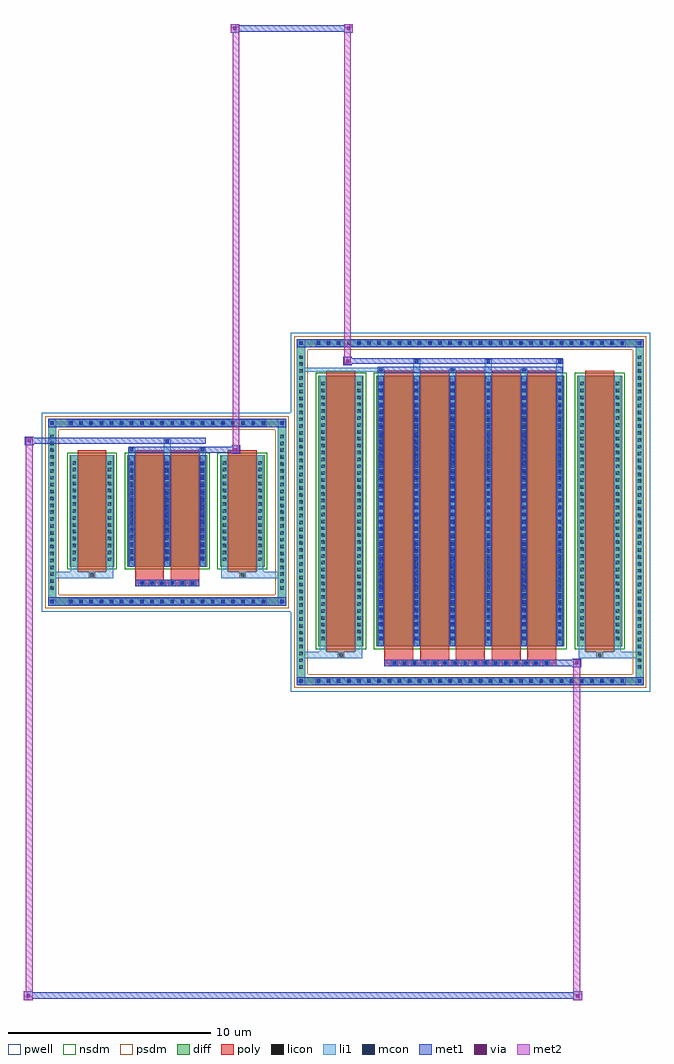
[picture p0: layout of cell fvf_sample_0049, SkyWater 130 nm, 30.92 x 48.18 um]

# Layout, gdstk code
import gdstk
lib = gdstk.Library(unit=1e-6, precision=1e-09)
def R(c, l, rs):  # rectangles x0, y0, x1, y1
    for r in rs: c.add(gdstk.rectangle(r[:2], r[2:], *l))
def A(c, l, x, y, w, h, nx, ny, dx, dy):  # array of equal rectangles
    R(c, l, [(x+i*dx, y+j*dy, x+i*dx+w, y+j*dy+h) for i in range(nx) for j in range(ny)])
def P(c, l, *ps):  # polygons
    for p in ps: c.add(gdstk.Polygon(p, *l))
pwell = (64, 44)
diff = (65, 20)
poly = (66, 20)
licon = (66, 44)
li1 = (67, 20)
mcon = (67, 44)
met1 = (68, 20)
via = (68, 44)
met2 = (69, 20)
nsdm = (93, 44)
psdm = (94, 20)

fvf_sample_0049 = lib.new_cell('fvf_sample_0049')
R(fvf_sample_0049, pwell, [(6.091,-8.858,23.843,8.858), (-6.191,-4.916,6.191,4.916)])
A(fvf_sample_0049, diff, 7.262, -8.548, 0.41, 0.41, 31, 2, 0.5, 16.686)
A(fvf_sample_0049, diff, 6.401, -7.855, 0.41, 0.41, 1, 46, 0, 0.34)
A(fvf_sample_0049, diff, 23.123, -7.855, 0.41, 0.41, 1, 46, 0, 0.34)
A(fvf_sample_0049, diff, -4.955, -4.606, 0.41, 0.41, 20, 2, 0.5, 8.802)
A(fvf_sample_0049, diff, -5.881, -3.945, 0.41, 0.41, 1, 23, 0, 0.34)
A(fvf_sample_0049, diff, 5.471, -3.945, 0.41, 0.41, 1, 23, 0, 0.34)
R(fvf_sample_0049, diff, [(7.262,-8.548,22.672,-8.138), (6.401,-7.855,6.811,7.855), (23.123,-7.855,23.533,7.855), (7.471,-6.627,9.687,6.743), (10.327,-6.627,19.607,6.743), (20.247,-6.627,22.463,6.743), (-4.955,-4.606,4.955,-4.196), (-5.881,-3.945,-5.471,3.945), (5.471,-3.945,5.881,3.945), (-4.811,-2.685,-2.613,2.801), (-1.973,-2.685,1.973,2.801), (2.613,-2.685,4.811,2.801), (-4.955,4.196,4.955,4.606), (7.262,8.138,22.672,8.548)])
P(fvf_sample_0049, diff, [(5.881,4.606),(-5.881,4.606),(-5.881,-4.196),(-5.471,-4.196),(-5.471,4.196),(5.471,4.196),(5.471,-4.196),(-5.471,-4.196),(-5.881,-4.196),(-5.881,-4.606),(5.881,-4.606)],
  [(23.533,8.548),(6.401,8.548),(6.401,-8.138),(6.811,-8.138),(6.811,8.138),(23.123,8.138),(23.123,-8.138),(6.811,-8.138),(6.401,-8.138),(6.401,-8.548),(23.533,-8.548)])
A(fvf_sample_0049, poly, 11.052, -7.608, 0.33, 0.33, 16, 1, 0.5, 0)
A(fvf_sample_0049, poly, 10.717, -7.278, 1.436, 0.401, 5, 1, 1.766, 0)
A(fvf_sample_0049, poly, 10.717, -6.877, 1.436, 13.87, 5, 1, 1.766, 0)
A(fvf_sample_0049, poly, -1.415, -3.666, 0.33, 0.33, 6, 1, 0.5, 0)
R(fvf_sample_0049, poly, [(10.717,-7.608,19.217,-7.278), (8.414,-7.207,8.744,-6.877), (8.414,-7.207,8.744,-6.877), (21.19,-7.207,21.52,-6.877), (21.19,-7.207,21.52,-6.877), (7.861,-6.877,9.297,6.993), (20.637,-6.877,22.073,6.993), (-1.583,-3.666,1.583,-3.336), (-1.583,-3.336,-0.165,-2.935), (0.165,-3.336,1.583,-2.935), (-3.877,-3.265,-3.547,-2.935), (-3.877,-3.265,-3.547,-2.935), (3.547,-3.265,3.877,-2.935), (3.547,-3.265,3.877,-2.935), (-4.421,-2.935,-3.003,3.051), (-1.583,-2.935,-0.165,3.051), (0.165,-2.935,1.583,3.051), (3.003,-2.935,4.421,3.051)])
A(fvf_sample_0049, licon, 7.382, -8.428, 0.17, 0.17, 31, 2, 0.5, 16.686)
A(fvf_sample_0049, licon, 6.521, -7.735, 0.17, 0.17, 1, 46, 0, 0.34)
A(fvf_sample_0049, licon, 23.243, -7.735, 0.17, 0.17, 1, 46, 0, 0.34)
A(fvf_sample_0049, licon, 11.132, -7.528, 0.17, 0.17, 16, 1, 0.5, 0)
A(fvf_sample_0049, licon, 7.611, -6.317, 0.17, 0.17, 1, 38, 0, 0.34)
A(fvf_sample_0049, licon, 9.377, -6.317, 0.17, 0.17, 1, 38, 0, 0.34)
A(fvf_sample_0049, licon, 10.467, -6.317, 0.17, 0.17, 6, 38, 1.766, 0.34)
A(fvf_sample_0049, licon, 20.387, -6.317, 0.17, 0.17, 1, 38, 0, 0.34)
A(fvf_sample_0049, licon, 22.153, -6.317, 0.17, 0.17, 1, 38, 0, 0.34)
A(fvf_sample_0049, licon, -4.835, -4.486, 0.17, 0.17, 20, 2, 0.5, 8.802)
A(fvf_sample_0049, licon, -5.761, -3.825, 0.17, 0.17, 1, 23, 0, 0.34)
A(fvf_sample_0049, licon, 5.591, -3.825, 0.17, 0.17, 1, 23, 0, 0.34)
A(fvf_sample_0049, licon, -1.335, -3.586, 0.17, 0.17, 6, 1, 0.5, 0)
A(fvf_sample_0049, licon, -4.671, -2.407, 0.17, 0.17, 1, 15, 0, 0.34)
A(fvf_sample_0049, licon, -2.923, -2.407, 0.17, 0.17, 1, 15, 0, 0.34)
A(fvf_sample_0049, licon, -1.833, -2.407, 0.17, 0.17, 3, 15, 1.748, 0.34)
A(fvf_sample_0049, licon, 2.753, -2.407, 0.17, 0.17, 1, 15, 0, 0.34)
A(fvf_sample_0049, licon, 4.501, -2.407, 0.17, 0.17, 1, 15, 0, 0.34)
R(fvf_sample_0049, licon, [(8.494,-7.127,8.664,-6.957), (21.27,-7.127,21.44,-6.957), (-3.797,-3.185,-3.627,-3.015), (3.627,-3.185,3.797,-3.015)])
A(fvf_sample_0049, li1, 7.302, -8.508, 0.33, 0.33, 31, 2, 0.5, 16.686)
A(fvf_sample_0049, li1, 6.441, -7.815, 0.33, 0.33, 1, 46, 0, 0.34)
A(fvf_sample_0049, li1, 23.163, -7.815, 0.33, 0.33, 1, 46, 0, 0.34)
A(fvf_sample_0049, li1, 11.052, -7.608, 0.33, 0.33, 16, 1, 0.5, 0)
A(fvf_sample_0049, li1, 10.387, -6.627, 0.33, 13.37, 6, 1, 1.766, 0)
A(fvf_sample_0049, li1, 7.531, -6.397, 0.33, 0.33, 1, 38, 0, 0.34)
A(fvf_sample_0049, li1, 9.297, -6.397, 0.33, 0.33, 1, 38, 0, 0.34)
A(fvf_sample_0049, li1, 10.387, -6.397, 0.33, 0.33, 6, 38, 1.766, 0.34)
A(fvf_sample_0049, li1, 20.307, -6.397, 0.33, 0.33, 1, 38, 0, 0.34)
A(fvf_sample_0049, li1, 22.073, -6.397, 0.33, 0.33, 1, 38, 0, 0.34)
A(fvf_sample_0049, li1, 10.467, -6.327, 0.17, 0.17, 6, 36, 1.766, 0.36)
A(fvf_sample_0049, li1, 10.467, -6.327, 0.17, 12.77, 6, 1, 1.766, 0)
A(fvf_sample_0049, li1, -4.915, -4.566, 0.33, 0.33, 20, 2, 0.5, 8.802)
A(fvf_sample_0049, li1, -5.841, -3.905, 0.33, 0.33, 1, 23, 0, 0.34)
A(fvf_sample_0049, li1, 5.511, -3.905, 0.33, 0.33, 1, 23, 0, 0.34)
A(fvf_sample_0049, li1, -1.415, -3.666, 0.33, 0.33, 6, 1, 0.5, 0)
A(fvf_sample_0049, li1, -1.913, -2.685, 0.33, 5.486, 3, 1, 1.748, 0)
A(fvf_sample_0049, li1, -4.751, -2.487, 0.33, 0.33, 1, 15, 0, 0.34)
A(fvf_sample_0049, li1, -3.003, -2.487, 0.33, 0.33, 1, 15, 0, 0.34)
A(fvf_sample_0049, li1, -1.913, -2.487, 0.33, 0.33, 3, 15, 1.748, 0.34)
A(fvf_sample_0049, li1, 2.673, -2.487, 0.33, 0.33, 1, 15, 0, 0.34)
A(fvf_sample_0049, li1, 4.421, -2.487, 0.33, 0.33, 1, 15, 0, 0.34)
A(fvf_sample_0049, li1, -1.833, -2.367, 0.17, 0.17, 3, 14, 1.748, 0.36)
A(fvf_sample_0049, li1, -1.833, -2.367, 0.17, 4.85, 3, 1, 1.748, 0)
A(fvf_sample_0049, li1, 10.387, 6.743, 0.33, 0.375, 3, 1, 3.532, 0)
A(fvf_sample_0049, li1, 12.153, 6.743, 0.33, 0.805, 3, 1, 3.532, 0)
A(fvf_sample_0049, li1, 10.467, 6.948, 0.17, 0.17, 3, 1, 3.532, 0)
A(fvf_sample_0049, li1, 12.233, 7.378, 0.17, 0.17, 3, 1, 3.532, 0)
R(fvf_sample_0049, li1, [(6.401,-8.548,6.811,-8.138), (23.123,-8.548,23.533,-8.138), (7.302,-8.508,22.632,-8.178), (6.521,-8.428,6.691,-8.258), (6.521,-8.428,6.691,-8.258), (23.243,-8.428,23.413,-8.258), (23.243,-8.428,23.413,-8.258), (6.401,-8.138,6.811,8.138), (23.123,-8.138,23.533,8.138), (6.401,-7.207,8.414,-6.877), (7.531,-7.207,7.861,-6.627), (7.531,-7.207,8.414,-6.877), (8.414,-7.207,8.744,-6.877), (8.744,-7.207,9.627,-6.877), (9.297,-7.207,9.627,-6.627), (20.307,-7.207,20.637,-6.627), (20.307,-7.207,21.19,-6.877), (21.19,-7.207,21.52,-6.877), (21.19,-7.207,23.533,-6.877), (21.52,-7.207,22.403,-6.877), (22.073,-7.207,22.403,-6.627), (7.531,-6.627,7.861,6.743), (9.297,-6.627,9.627,6.743), (20.307,-6.627,20.637,6.743), (22.073,-6.627,22.403,6.743), (-5.881,-4.606,-5.471,-4.196), (5.471,-4.606,5.881,-4.196), (-4.915,-4.566,4.915,-4.236), (-5.761,-4.486,-5.591,-4.316), (-5.761,-4.486,-5.591,-4.316), (5.591,-4.486,5.761,-4.316), (5.591,-4.486,5.761,-4.316), (-5.881,-4.196,-5.471,4.196), (5.471,-4.196,5.881,4.196), (-5.881,-3.265,-3.877,-2.935), (-4.751,-3.265,-3.877,-2.935), (-4.751,-3.265,-4.421,-2.685), (-3.877,-3.265,-3.547,-2.935), (-3.547,-3.265,-2.673,-2.935), (-3.003,-3.265,-2.673,-2.685), (2.673,-3.265,3.547,-2.935), (2.673,-3.265,3.003,-2.685), (3.547,-3.265,3.877,-2.935), (3.547,-3.265,5.881,-2.935), (3.877,-3.265,4.751,-2.935), (4.421,-3.265,4.751,-2.685), (-4.751,-2.685,-4.421,2.801), (-3.003,-2.685,-2.673,2.801), (2.673,-2.685,3.003,2.801), (4.421,-2.685,4.751,2.801), (-1.913,2.801,-1.583,3.176), (-0.165,2.801,0.165,3.606), (1.583,2.801,1.913,3.176), (-1.833,3.006,-1.663,3.176), (1.663,3.006,1.833,3.176), (-0.085,3.436,0.085,3.606), (-5.881,4.196,-5.471,4.606), (5.471,4.196,5.881,4.606), (-4.915,4.236,4.915,4.566), (-5.761,4.316,-5.591,4.486), (-5.761,4.316,-5.591,4.486), (5.591,4.316,5.761,4.486), (5.591,4.316,5.761,4.486), (10.407,6.888,10.697,7.178), (6.401,6.933,10.407,7.133), (10.467,6.948,10.637,7.118), (6.401,8.138,6.811,8.548), (23.123,8.138,23.533,8.548), (7.302,8.178,22.632,8.508), (6.521,8.258,6.691,8.428), (6.521,8.258,6.691,8.428), (23.243,8.258,23.413,8.428), (23.243,8.258,23.413,8.428)])
A(fvf_sample_0049, mcon, 7.382, -8.428, 0.17, 0.17, 31, 2, 0.5, 16.686)
A(fvf_sample_0049, mcon, 11.132, -7.528, 0.17, 0.17, 16, 1, 0.5, 0)
A(fvf_sample_0049, mcon, 10.467, -6.327, 0.17, 0.17, 6, 36, 1.766, 0.36)
A(fvf_sample_0049, mcon, -4.835, -4.486, 0.17, 0.17, 20, 2, 0.5, 8.802)
A(fvf_sample_0049, mcon, -1.335, -3.586, 0.17, 0.17, 6, 1, 0.5, 0)
A(fvf_sample_0049, mcon, -1.833, -2.367, 0.17, 0.17, 3, 14, 1.748, 0.36)
A(fvf_sample_0049, mcon, 10.467, 6.948, 0.17, 0.17, 3, 1, 3.532, 0)
A(fvf_sample_0049, mcon, 12.233, 7.378, 0.17, 0.17, 3, 1, 3.532, 0)
R(fvf_sample_0049, mcon, [(6.521,-8.428,6.691,-8.258), (23.243,-8.428,23.413,-8.258), (-5.761,-4.486,-5.591,-4.316), (5.591,-4.486,5.761,-4.316), (-1.833,3.006,-1.663,3.176), (1.663,3.006,1.833,3.176), (-0.085,3.436,0.085,3.606), (-5.761,4.316,-5.591,4.486), (5.591,4.316,5.761,4.486), (10.467,6.948,10.637,7.118), (6.521,8.258,6.691,8.428), (23.243,8.258,23.413,8.428)])
A(fvf_sample_0049, met1, 7.322, -8.488, 0.29, 0.29, 31, 2, 0.5, 16.686)
A(fvf_sample_0049, met1, 11.072, -7.588, 0.29, 0.29, 16, 1, 0.5, 0)
A(fvf_sample_0049, met1, 10.407, -6.627, 0.29, 13.37, 6, 1, 1.766, 0)
A(fvf_sample_0049, met1, 10.407, -6.387, 0.29, 0.29, 6, 36, 1.766, 0.36)
A(fvf_sample_0049, met1, -4.895, -4.546, 0.29, 0.29, 20, 2, 0.5, 8.802)
A(fvf_sample_0049, met1, -1.395, -3.646, 0.29, 0.29, 6, 1, 0.5, 0)
A(fvf_sample_0049, met1, -1.893, -2.685, 0.29, 5.486, 3, 1, 1.748, 0)
A(fvf_sample_0049, met1, -1.893, -2.427, 0.29, 0.29, 3, 14, 1.748, 0.36)
A(fvf_sample_0049, met1, 10.407, 6.888, 0.29, 0.29, 3, 1, 3.532, 0)
A(fvf_sample_0049, met1, 12.173, 7.318, 0.29, 0.29, 3, 1, 3.532, 0)
R(fvf_sample_0049, met1, [(-7.074,-24.081,-6.644,-23.651), (20.052,-24.081,20.482,-23.651), (-7.074,-24.031,20.482,-23.701), (-7.074,-23.701,-6.644,-23.651), (20.052,-23.701,20.482,-23.651), (6.401,-8.548,6.811,-8.138), (6.401,-8.548,6.811,-8.138), (6.811,-8.548,23.123,-8.138), (23.123,-8.548,23.533,-8.138), (23.123,-8.548,23.533,-8.138), (6.461,-8.488,6.751,-8.198), (23.183,-8.488,23.473,-8.198), (20.002,-7.658,20.432,-7.228), (10.717,-7.608,19.217,-7.278), (19.217,-7.608,20.002,-7.278), (-5.881,-4.606,-5.471,-4.196), (-5.881,-4.606,-5.471,-4.196), (-5.471,-4.606,5.471,-4.196), (5.471,-4.606,5.881,-4.196), (5.471,-4.606,5.881,-4.196), (-5.821,-4.546,-5.531,-4.256), (5.531,-4.546,5.821,-4.256), (-1.583,-3.666,1.583,-3.336), (3.178,2.876,3.608,3.306), (-1.893,2.946,-1.603,3.236), (-1.893,2.946,1.893,3.236), (1.603,2.946,1.893,3.236), (1.893,2.946,3.178,3.236), (-7.024,3.306,-6.594,3.736), (-6.594,3.376,-1.893,3.666), (-1.893,3.376,1.893,3.666), (-0.145,3.376,0.145,3.666), (-5.881,4.196,-5.471,4.606), (-5.881,4.196,-5.471,4.606), (-5.471,4.196,5.471,4.606), (5.471,4.196,5.881,4.606), (5.471,4.196,5.881,4.606), (-5.821,4.256,-5.531,4.546), (5.531,4.256,5.821,4.546), (10.407,6.888,10.697,7.178), (10.407,6.888,19.527,7.178), (8.692,7.248,9.122,7.678), (9.122,7.318,10.407,7.608), (10.407,7.318,19.527,7.608), (6.401,8.138,6.811,8.548), (6.401,8.138,6.811,8.548), (6.811,8.138,23.123,8.548), (23.123,8.138,23.533,8.548), (23.123,8.138,23.533,8.548), (6.461,8.198,6.751,8.488), (23.183,8.198,23.473,8.488), (3.128,23.671,3.558,24.101), (8.742,23.671,9.172,24.101), (3.128,23.721,9.172,24.051), (3.128,24.051,3.558,24.101), (8.742,24.051,9.172,24.101)])
R(fvf_sample_0049, via, [(-6.934,-23.941,-6.784,-23.791), (20.192,-23.941,20.342,-23.791), (20.142,-7.518,20.292,-7.368), (3.318,3.016,3.468,3.166), (-6.884,3.446,-6.734,3.596), (8.832,7.388,8.982,7.538), (3.268,23.811,3.418,23.961), (8.882,23.811,9.032,23.961)])
R(fvf_sample_0049, met2, [(-7.074,-24.081,-6.644,-23.651), (-6.974,-24.081,-6.644,3.356), (20.052,-24.081,20.482,-23.651), (20.052,-24.081,20.382,-7.608), (-7.024,-24.031,-6.694,-23.701), (20.102,-24.031,20.432,-23.701), (20.052,-7.608,20.382,-7.278), (3.228,2.926,3.558,3.256), (3.228,3.256,3.558,24.101), (-6.974,3.356,-6.644,3.686), (8.742,7.298,9.072,7.628), (8.742,7.628,9.072,24.101), (3.128,23.671,3.558,24.101), (8.742,23.671,9.172,24.101), (3.178,23.721,3.508,24.051), (8.792,23.721,9.122,24.051)])
R(fvf_sample_0049, nsdm, [(7.341,-6.757,9.817,6.873), (10.197,-6.757,19.737,6.873), (20.117,-6.757,22.593,6.873), (-4.941,-2.815,-2.483,2.931), (-2.103,-2.815,2.103,2.931), (2.483,-2.815,4.941,2.931)])
P(fvf_sample_0049, psdm, [(6.011,4.736),(-6.011,4.736),(-6.011,-4.066),(-5.341,-4.066),(-5.341,4.066),(5.341,4.066),(5.341,-4.066),(-5.341,-4.066),(-6.011,-4.066),(-6.011,-4.736),(6.011,-4.736)],
  [(23.663,8.678),(6.271,8.678),(6.271,-8.008),(6.941,-8.008),(6.941,8.008),(22.993,8.008),(22.993,-8.008),(6.941,-8.008),(6.271,-8.008),(6.271,-8.678),(23.663,-8.678)])

lib.write_gds('fvf_sample_0049.gds')
